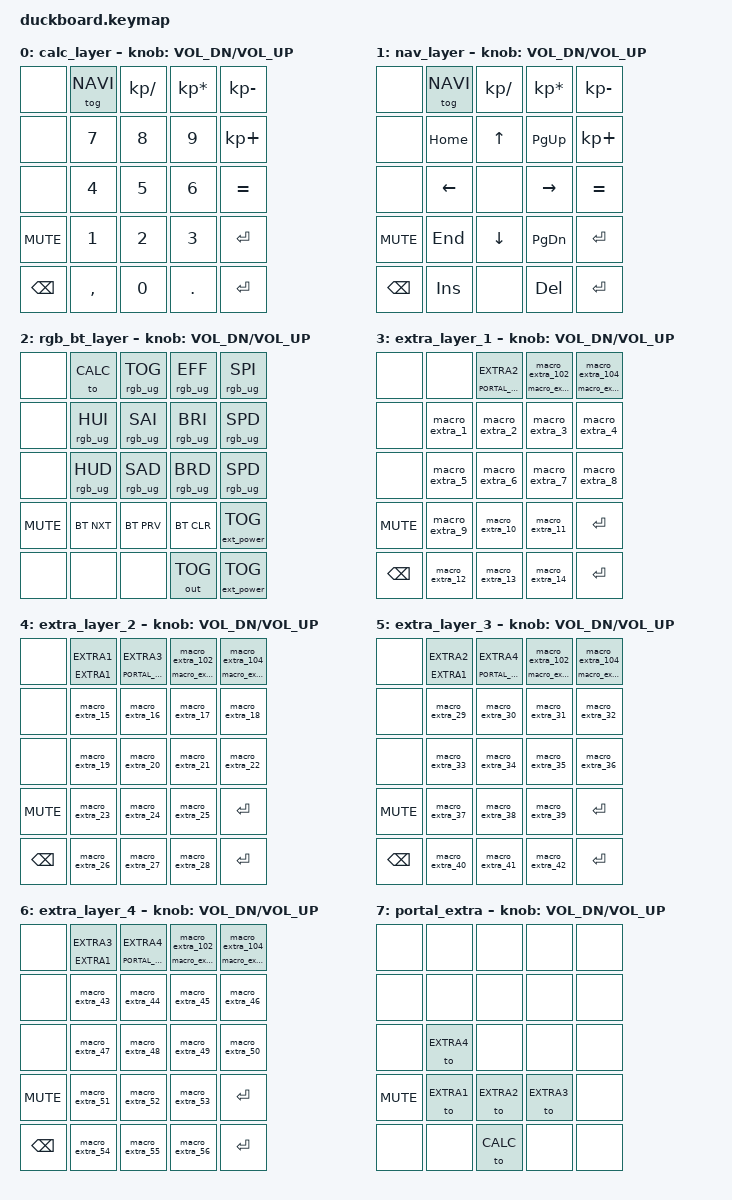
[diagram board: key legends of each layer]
/* Copyright (c) 2020 The ZMK Contributors
 * SPDX-License-Identifier: MIT
 *
 * Author: Edited from Jack Hartstein
 */

#include <behaviors.dtsi>
#include <dt-bindings/zmk/keys.h>
#include <dt-bindings/zmk/rgb.h>
#include <dt-bindings/zmk/bt.h>
#include <dt-bindings/zmk/ext_power.h>
#include <dt-bindings/zmk/outputs.h>
#include <dt-bindings/led/led.h>

#define CALC 0
#define NAVI 1
#define RGB_BT 2
#define EXTRA1 3
#define EXTRA2 4
#define EXTRA3 5
#define EXTRA4 6
#define PORTAL_EXTRA 7


#define MACRO_EXTRA(NAME, KEYS) \
    macro_extra_ ## NAME: macro_extra_ ## NAME { \
        label = ZMK_MACRO_STRINGIFY(ZM_ ## NAME); \
        compatible = "zmk,behavior-macro"; \
        #binding-cells = <0>; \
        wait-ms = <0>; \
        tap-ms = <0>; \
        bindings \
            = <&macro_press KEYS> \
            , <&macro_pause_for_release> \
            , <&macro_release KEYS> \
            ; \
    };
    

/ {

    behaviors {
        moto: momentary_to {
            compatible = "zmk,behavior-hold-tap";
            label = "MOMENTARY_TO_LAYER";
            #binding-cells = <2>;
            tapping-term-ms = <400>;
            quick-tap-ms = <0>;
            flavor = "tap-preferred";
            bindings = <&mo>, <&to>;
        };

        toto: to_to {
            compatible = "zmk,behavior-hold-tap";
            label = "TO_TO_LAYER";
            #binding-cells = <2>;
            tapping-term-ms = <400>;
            quick-tap-ms = <0>;
            flavor = "tap-preferred";
            bindings = <&to>, <&to>;
        };

        ht_macro1: ht_macro1 {
            compatible = "zmk,behavior-hold-tap";
            label = "HT_MACRO1";
            #binding-cells = <2>;
            tapping-term-ms = <300>;
            quick-tap-ms = <0>;
            flavor = "tap-preferred";
            bindings = <&macro_extra_103>, <&macro_extra_102>;
        };

        ht_macro2: ht_macro2 {
            compatible = "zmk,behavior-hold-tap";
            label = "HT_MACRO2";
            #binding-cells = <2>;
            tapping-term-ms = <300>;
            quick-tap-ms = <0>;
            flavor = "tap-preferred";
            bindings = <&macro_extra_105>, <&macro_extra_104>;
        };
    };

    combos {
        compatible = "zmk,combos";

        /* on CALC, NAVI, RGB_BT layers */
        combo_reset {
            timeout-ms = <100>;
            layers = <0 1 2>;
            key-positions = <1 3>;
            bindings = <&reset>;
        };
        combo_bootloader {
            timeout-ms = <100>;
            layers = <0 1 2>;
            key-positions = <1 4>;
            bindings = <&bootloader>;
        };

        combo_to_extra1 {
            timeout-ms = <100>;
            layers = <0 1 2>;
            key-positions = <1 22>;
            bindings = <&to EXTRA1>;
        };
        combo_to_calc {
            timeout-ms = <100>;
            layers = <0 1 2>;
            key-positions = <1 16>;
            bindings = <&to CALC>;
        };
        combo_to_navi {
            timeout-ms = <100>;
            layers = <0 1 2>;
            key-positions = <1 17>;
            bindings = <&to NAVI>;
        };
        combo_to_rgb_bt {
            timeout-ms = <100>;
            layers = <0 1 2>;
            key-positions = <1 18>;
            bindings = <&to RGB_BT>;
        };
    };

    macros {
        MACRO_EXTRA(1, &kp F13 &kp F14)
        MACRO_EXTRA(2, &kp F13 &kp F15)
        MACRO_EXTRA(3, &kp F13 &kp F16)
        MACRO_EXTRA(4, &kp F13 &kp F17)
        MACRO_EXTRA(5, &kp F13 &kp F18)
        MACRO_EXTRA(6, &kp F13 &kp F19)
        MACRO_EXTRA(7, &kp F13 &kp F20)
        MACRO_EXTRA(8, &kp F13 &kp F21)
        MACRO_EXTRA(9, &kp F13 &kp F22)
        MACRO_EXTRA(10, &kp F13 &kp F23)
        MACRO_EXTRA(11, &kp F13 &kp F24)

        MACRO_EXTRA(12, &kp F14 &kp F13)
        MACRO_EXTRA(13, &kp F14 &kp F15)
        MACRO_EXTRA(14, &kp F14 &kp F16)
        MACRO_EXTRA(15, &kp F14 &kp F17)
        MACRO_EXTRA(16, &kp F14 &kp F18)
        MACRO_EXTRA(17, &kp F14 &kp F19)
        MACRO_EXTRA(18, &kp F14 &kp F20)
        MACRO_EXTRA(19, &kp F14 &kp F21)
        MACRO_EXTRA(20, &kp F14 &kp F22)
        MACRO_EXTRA(21, &kp F14 &kp F23)
        MACRO_EXTRA(22, &kp F14 &kp F24)
        
        MACRO_EXTRA(23, &kp F15 &kp F13)
        MACRO_EXTRA(24, &kp F15 &kp F14)
        MACRO_EXTRA(25, &kp F15 &kp F16)
        MACRO_EXTRA(26, &kp F15 &kp F17)
        MACRO_EXTRA(27, &kp F15 &kp F18)
        MACRO_EXTRA(28, &kp F15 &kp F19)
        MACRO_EXTRA(29, &kp F15 &kp F20)
        MACRO_EXTRA(30, &kp F15 &kp F21)
        MACRO_EXTRA(31, &kp F15 &kp F22)
        MACRO_EXTRA(32, &kp F15 &kp F23)
        MACRO_EXTRA(33, &kp F15 &kp F24)

        MACRO_EXTRA(34, &kp F16 &kp F13)
        MACRO_EXTRA(35, &kp F16 &kp F14)
        MACRO_EXTRA(36, &kp F16 &kp F15)
        MACRO_EXTRA(37, &kp F16 &kp F17)
        MACRO_EXTRA(38, &kp F16 &kp F18)
        MACRO_EXTRA(39, &kp F16 &kp F19)
        MACRO_EXTRA(40, &kp F16 &kp F20)
        MACRO_EXTRA(41, &kp F16 &kp F21)
        MACRO_EXTRA(42, &kp F16 &kp F22)
        MACRO_EXTRA(43, &kp F16 &kp F23)
        MACRO_EXTRA(44, &kp F16 &kp F24)

        MACRO_EXTRA(45, &kp F17 &kp F13)
        MACRO_EXTRA(46, &kp F17 &kp F14)
        MACRO_EXTRA(47, &kp F17 &kp F15)
        MACRO_EXTRA(48, &kp F17 &kp F16)
        MACRO_EXTRA(49, &kp F17 &kp F18)
        MACRO_EXTRA(50, &kp F17 &kp F19)
        MACRO_EXTRA(51, &kp F17 &kp F20)
        MACRO_EXTRA(52, &kp F17 &kp F21)
        MACRO_EXTRA(53, &kp F17 &kp F22)
        MACRO_EXTRA(54, &kp F17 &kp F23)
        MACRO_EXTRA(55, &kp F17 &kp F24)

        MACRO_EXTRA(56, &kp F18 &kp F13)
        MACRO_EXTRA(57, &kp F18 &kp F14)
        MACRO_EXTRA(58, &kp F18 &kp F15)
        MACRO_EXTRA(59, &kp F18 &kp F16)
        MACRO_EXTRA(60, &kp F18 &kp F17)
        MACRO_EXTRA(61, &kp F18 &kp F19)
        MACRO_EXTRA(62, &kp F18 &kp F20)
        MACRO_EXTRA(63, &kp F18 &kp F21)
        MACRO_EXTRA(64, &kp F18 &kp F22)
        MACRO_EXTRA(65, &kp F18 &kp F23)
        MACRO_EXTRA(66, &kp F18 &kp F24)

        MACRO_EXTRA(67, &kp F19 &kp F13)
        MACRO_EXTRA(68, &kp F19 &kp F14)
        MACRO_EXTRA(69, &kp F19 &kp F15)
        MACRO_EXTRA(70, &kp F19 &kp F16)
        MACRO_EXTRA(71, &kp F19 &kp F17)
        MACRO_EXTRA(72, &kp F19 &kp F18)
        MACRO_EXTRA(73, &kp F19 &kp F20)
        MACRO_EXTRA(74, &kp F19 &kp F21)
        MACRO_EXTRA(75, &kp F19 &kp F22)
        MACRO_EXTRA(76, &kp F19 &kp F23)
        MACRO_EXTRA(77, &kp F19 &kp F24)

        MACRO_EXTRA(78, &kp F20 &kp F13)
        MACRO_EXTRA(79, &kp F20 &kp F14)
        MACRO_EXTRA(80, &kp F20 &kp F15)
        MACRO_EXTRA(81, &kp F20 &kp F16)
        MACRO_EXTRA(82, &kp F20 &kp F17)
        MACRO_EXTRA(83, &kp F20 &kp F18)
        MACRO_EXTRA(84, &kp F20 &kp F19)
        MACRO_EXTRA(85, &kp F20 &kp F21)
        MACRO_EXTRA(86, &kp F20 &kp F22)
        MACRO_EXTRA(87, &kp F20 &kp F23)
        MACRO_EXTRA(88, &kp F20 &kp F24)

        MACRO_EXTRA(89, &kp F21 &kp F13)
        MACRO_EXTRA(90, &kp F21 &kp F14)
        MACRO_EXTRA(91, &kp F21 &kp F15)
        MACRO_EXTRA(92, &kp F21 &kp F16)
        MACRO_EXTRA(93, &kp F21 &kp F17)
        MACRO_EXTRA(94, &kp F21 &kp F18)
        MACRO_EXTRA(95, &kp F21 &kp F19)
        MACRO_EXTRA(96, &kp F21 &kp F20)
        MACRO_EXTRA(97, &kp F21 &kp F22)
        MACRO_EXTRA(98, &kp F21 &kp F23)
        MACRO_EXTRA(99, &kp F21 &kp F24)

        MACRO_EXTRA(100, &kp F22 &kp F13)
        MACRO_EXTRA(101, &kp F22 &kp F14)
        MACRO_EXTRA(102, &kp F22 &kp F15)
        MACRO_EXTRA(103, &kp F22 &kp F16)
        MACRO_EXTRA(104, &kp F22 &kp F17)
        MACRO_EXTRA(105, &kp F22 &kp F18)
        MACRO_EXTRA(106, &kp F22 &kp F19)
        MACRO_EXTRA(107, &kp F22 &kp F20)
        MACRO_EXTRA(108, &kp F22 &kp F21)
        MACRO_EXTRA(109, &kp F22 &kp F23)
        MACRO_EXTRA(110, &kp F22 &kp F24)

        MACRO_EXTRA(111, &kp F23 &kp F13)
        MACRO_EXTRA(112, &kp F23 &kp F14)
        MACRO_EXTRA(113, &kp F23 &kp F15)
        MACRO_EXTRA(114, &kp F23 &kp F16)
        MACRO_EXTRA(115, &kp F23 &kp F17)
        MACRO_EXTRA(116, &kp F23 &kp F18)
        MACRO_EXTRA(117, &kp F23 &kp F19)
        MACRO_EXTRA(118, &kp F23 &kp F20)
        MACRO_EXTRA(119, &kp F23 &kp F21)
        MACRO_EXTRA(120, &kp F23 &kp F22)
        MACRO_EXTRA(121, &kp F23 &kp F24)

        MACRO_EXTRA(122, &kp F24 &kp F13)
        MACRO_EXTRA(123, &kp F24 &kp F14)
        MACRO_EXTRA(124, &kp F24 &kp F15)
        MACRO_EXTRA(125, &kp F24 &kp F16)
        MACRO_EXTRA(126, &kp F24 &kp F17)
        MACRO_EXTRA(127, &kp F24 &kp F18)
        MACRO_EXTRA(128, &kp F24 &kp F19)
        MACRO_EXTRA(129, &kp F24 &kp F20)
        MACRO_EXTRA(130, &kp F24 &kp F21)
        MACRO_EXTRA(131, &kp F24 &kp F22)
        MACRO_EXTRA(132, &kp F24 &kp F23)
    };

    keymap {
        compatible = "zmk,keymap";

        calc_layer {
            bindings = <
                &none           &tog NAVI      &kp KP_DIVIDE   &kp KP_MULTIPLY   &kp KP_MINUS
                &none           &kp NUMBER_7   &kp NUMBER_8    &kp NUMBER_9      &kp KP_PLUS
                &none           &kp NUMBER_4   &kp NUMBER_5    &kp NUMBER_6      &kp EQUAL
                &kp C_MUTE      &kp NUMBER_1   &kp NUMBER_2    &kp NUMBER_3      &kp ENTER
                &kp BACKSPACE   &kp COMMA      &kp NUMBER_0    &kp DOT           &kp ENTER
            >;

            sensor-bindings = <&inc_dec_kp C_VOL_DN C_VOL_UP>;
        };

        nav_layer {
            bindings = <
               &none            &tog NAVI    &kp KP_DIVIDE   &kp KP_MULTIPLY   &kp KP_MINUS
               &none            &kp HOME     &kp UP          &kp PAGE_UP       &kp KP_PLUS
               &none            &kp LEFT     &none           &kp RIGHT         &kp EQUAL
               &kp C_MUTE       &kp END      &kp DOWN        &kp PAGE_DOWN     &kp ENTER
               &kp BACKSPACE    &kp INSERT   &none           &kp DEL           &kp ENTER
           >;

           sensor-bindings = <&inc_dec_kp C_VOL_DN C_VOL_UP>;
        };

        rgb_bt_layer {
             bindings = <
                &none          &to CALC         &rgb_ug RGB_TOG  &rgb_ug RGB_EFF  &rgb_ug RGB_SPI
                &none          &rgb_ug RGB_HUI  &rgb_ug RGB_SAI  &rgb_ug RGB_BRI  &rgb_ug RGB_SPD
                &none          &rgb_ug RGB_HUD  &rgb_ug RGB_SAD  &rgb_ug RGB_BRD  &rgb_ug RGB_SPD
                &kp C_MUTE     &bt BT_NXT       &bt BT_PRV       &bt BT_CLR       &ext_power EP_TOG
                &none          &none            &none            &out OUT_TOG     &ext_power EP_TOG
            >;

            sensor-bindings = <&inc_dec_kp C_VOL_DN C_VOL_UP>;
        };

        extra_layer_1 {
            bindings = <
               &none           &none                  &moto PORTAL_EXTRA EXTRA2    &ht_macro1 0 0      &ht_macro2 0 0
               &none           &macro_extra_1         &macro_extra_2               &macro_extra_3      &macro_extra_4
               &none           &macro_extra_5         &macro_extra_6               &macro_extra_7      &macro_extra_8
               &kp C_MUTE      &macro_extra_9         &macro_extra_10              &macro_extra_11     &kp ENTER
               &kp BACKSPACE   &macro_extra_12        &macro_extra_13              &macro_extra_14     &kp ENTER
           >;

           sensor-bindings = <&inc_dec_kp C_VOL_DN C_VOL_UP>;
        };

        extra_layer_2 {
            bindings = <
               &none           &toto EXTRA1 EXTRA1    &moto PORTAL_EXTRA EXTRA3    &ht_macro1 0 0      &ht_macro2 0 0
               &none           &macro_extra_15        &macro_extra_16              &macro_extra_17     &macro_extra_18
               &none           &macro_extra_19        &macro_extra_20              &macro_extra_21     &macro_extra_22
               &kp C_MUTE      &macro_extra_23        &macro_extra_24              &macro_extra_25     &kp ENTER
               &kp BACKSPACE   &macro_extra_26        &macro_extra_27              &macro_extra_28     &kp ENTER
           >;

           sensor-bindings = <&inc_dec_kp C_VOL_DN C_VOL_UP>;
        };

        extra_layer_3 {
            bindings = <
               &none           &toto EXTRA1 EXTRA2    &moto PORTAL_EXTRA EXTRA4    &ht_macro1 0 0      &ht_macro2 0 0
               &none           &macro_extra_29        &macro_extra_30              &macro_extra_31     &macro_extra_32
               &none           &macro_extra_33        &macro_extra_34              &macro_extra_35     &macro_extra_36
               &kp C_MUTE      &macro_extra_37        &macro_extra_38              &macro_extra_39     &kp ENTER
               &kp BACKSPACE   &macro_extra_40        &macro_extra_41              &macro_extra_42     &kp ENTER
           >;

           sensor-bindings = <&inc_dec_kp C_VOL_DN C_VOL_UP>;
        };

        extra_layer_4 {
            bindings = <
               &none           &toto EXTRA1 EXTRA3    &moto PORTAL_EXTRA EXTRA4    &ht_macro1 0 0      &ht_macro2 0 0
               &none           &macro_extra_43        &macro_extra_44              &macro_extra_45     &macro_extra_46
               &none           &macro_extra_47        &macro_extra_48              &macro_extra_49     &macro_extra_50
               &kp C_MUTE      &macro_extra_51        &macro_extra_52              &macro_extra_53     &kp ENTER
               &kp BACKSPACE   &macro_extra_54        &macro_extra_55              &macro_extra_56     &kp ENTER
           >;

           sensor-bindings = <&inc_dec_kp C_VOL_DN C_VOL_UP>;
        };

        portal_extra {
            bindings = <
               &none           &none         &none        &none        &none
               &none           &none         &none        &none        &none
               &none           &to EXTRA4    &none        &none        &none
               &kp C_MUTE      &to EXTRA1    &to EXTRA2   &to EXTRA3   &none
               &none           &none         &to CALC     &none        &none
           >;

           sensor-bindings = <&inc_dec_kp C_VOL_DN C_VOL_UP>;
        };

        
    };
};
